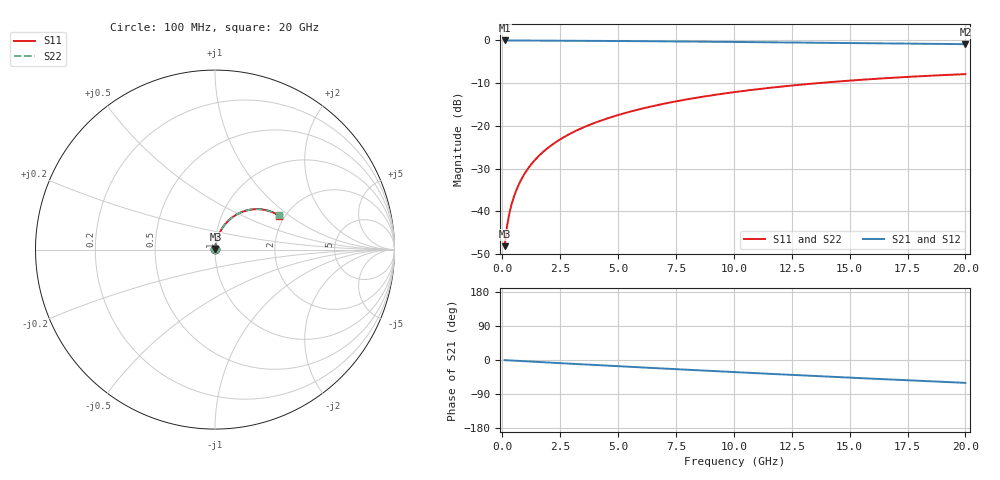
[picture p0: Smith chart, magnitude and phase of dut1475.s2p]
! Touchstone file exported from HFSS 2026.1.0
!  File:  C:/ffzhzh/LocalFiles/Ansys_Project_Files/temp_train_BSMRDL_1475_1783181202_22436.aedt
!  Generated:  12:08:04 AM Jul  5, 2026
!  Design:  BSMRDL
!  Project:  temp_train_BSMRDL_1475_1783181202_22436
! Variables:
!  h_bsmrdl = 5.95um
!  h_ox = 20um
!  h_rdl = 5um
!  h_sub = 80um
!  h_tmrdl = 5um
!  h_tsv = 80um
!  h_via = 3um
!  l_bsmrdl = 995um
!  l_sub = 1395um
!  l_tmrdl = 200um
!  m_sub = 200um
!  pitch = 53.24um
!  r_tsv = 6um
!  s_tmrdl = 10um
!  w_bsmrdl = 28.38um
!  w_sub = 500um
!  w_tmrdl = 12um
!  x_tsv_center1 = 206um
!  x_tsv_center2 = 1229.38um
!  x_tsv_center3 = 1441.38um
!  x_tsv_center4 = 2464.76um
!  x_tsv_center5 = 2676.76um
!  x_tsv_center6 = 3700.14um
# GHz S MA R 50.000000
! Terminal data exported
! Port[1] = BSM_RDL1_1_T1
! Port[2] = BSM_RDL1_1_T2
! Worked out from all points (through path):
!   200 points, 100 MHz to 20 GHz, reference 50 ohm
!   highest |S21| = -0.02 dB at 100 MHz (marker M1); lowest = -0.9 dB at 20 GHz (marker M2)
!   group delay of S21, straight-line fit = 8.37 ps
!   lowest |S11| = -48.1 dB at 100 MHz (marker M3), VSWR 1.01, Z = 50.2 + j0.315 ohm
!   |S11| at or under -10 dB: start of sweep to 13.63 GHz
!   |S22| runs from -48.1 to -7.9 dB; largest |S21 - S12| = 3.2e-15
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0.1  0.00393 53.0  0.9976 -0.4  0.9976 -0.4  0.00393 53.0
! Gamma 0 0 0 0
! Port Impedance 50 0 50 0
0.2  0.006635 66.3  0.9974 -0.7  0.9974 -0.7  0.006635 66.3
0.3  0.009365 71.7  0.9972 -1.0  0.9972 -1.0  0.009365 71.7
0.4  0.01209 74.7  0.9971 -1.4  0.9971 -1.4  0.01209 74.7
0.5  0.01483 76.5  0.9969 -1.7  0.9969 -1.7  0.01483 76.5
0.7  0.02035 78.6  0.9967 -2.4  0.9967 -2.4  0.02035 78.6
0.8  0.02312 79.2  0.9965 -2.7  0.9965 -2.7  0.02312 79.2
1  0.02867 79.8  0.9962 -3.4  0.9962 -3.4  0.02867 79.8
1.2  0.03421 79.9  0.9959 -4.0  0.9959 -4.0  0.03421 79.9
1.4  0.03974 79.9  0.9955 -4.7  0.9955 -4.7  0.03974 79.9
1.7  0.04799 79.4  0.9948 -5.7  0.9948 -5.7  0.04799 79.4
2  0.05618 78.8  0.9941 -6.7  0.9941 -6.7  0.05618 78.8
2.7  0.07499 77.1  0.992 -9.0  0.992 -9.0  0.07499 77.1
3.5  0.09599 74.8  0.9893 -11.5  0.9893 -11.5  0.09599 74.8
4.2  0.1139 72.8  0.9867 -13.8  0.9867 -13.8  0.1139 72.8
5  0.134 70.4  0.9835 -16.3  0.9835 -16.3  0.134 70.5
6.8  0.1774 65.1  0.9754 -22.0  0.9754 -22.0  0.1774 65.2
8.4  0.2138 60.5  0.9673 -27.0  0.9673 -27.0  0.2138 60.5
10.1  0.25 55.5  0.958 -32.2  0.958 -32.2  0.25 55.6
13.4  0.3123 46.0  0.9388 -41.9  0.9388 -41.9  0.3123 46.1
16.7  0.3633 36.9  0.9199 -51.3  0.9199 -51.3  0.3633 37.0
20  0.4031 28.1  0.9031 -60.3  0.9031 -60.3  0.403 28.2
